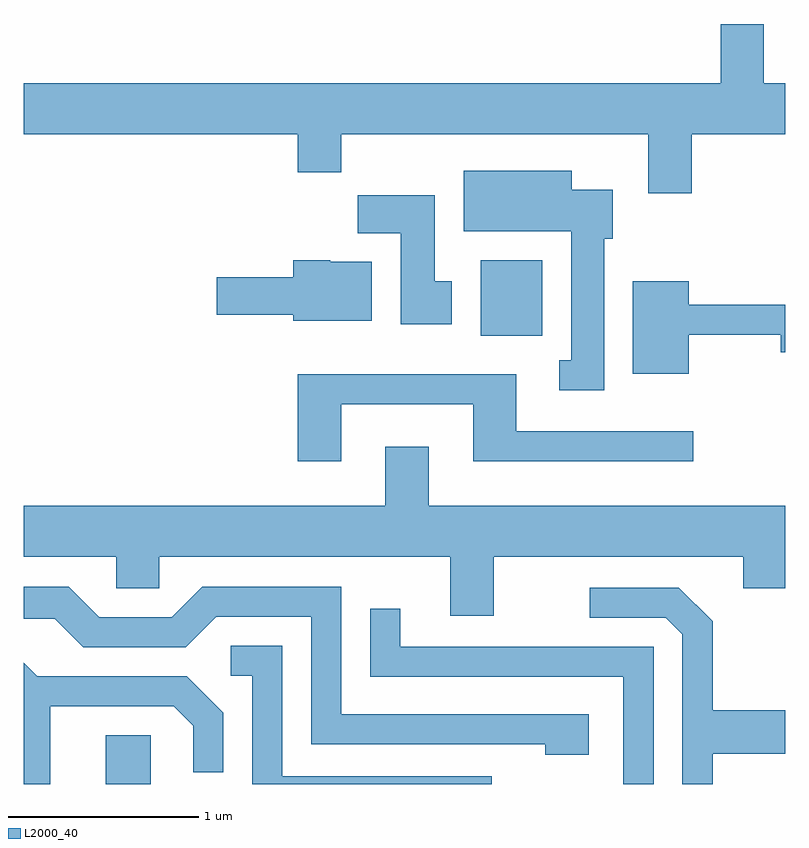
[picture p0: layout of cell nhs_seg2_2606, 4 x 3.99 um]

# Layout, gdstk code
import gdstk
lib = gdstk.Library(unit=1e-6, precision=1e-09)
def R(c, l, rs):  # rectangles x0, y0, x1, y1
    for r in rs: c.add(gdstk.rectangle(r[:2], r[2:], *l))
def P(c, l, *ps):  # polygons
    for p in ps: c.add(gdstk.Polygon(p, *l))
L2000_40 = (2000, 40)

nhs_seg2_2606 = lib.new_cell('nhs_seg2_2606')
R(nhs_seg2_2606, L2000_40, [(262.041,1033.802,262.279,1034.059), (264.011,1036.156,264.334,1036.554)])
P(nhs_seg2_2606, L2000_40, [(265.119,1037.216),(265.611,1037.216),(265.611,1037.484),(265.499,1037.484),(265.499,1037.794),(265.271,1037.794),(265.271,1037.484),(261.611,1037.484),(261.611,1037.216),(263.051,1037.216),(263.051,1037.016),(263.279,1037.016),(263.279,1037.216),(264.891,1037.216),(264.891,1036.906),(265.119,1036.906)],
  [(264.659,1036.666),(264.704,1036.666),(264.704,1036.924),(264.489,1036.924),(264.489,1037.024),(263.921,1037.024),(263.921,1036.706),(264.486,1036.706),(264.486,1036.029),(264.423,1036.029),(264.423,1035.871),(264.659,1035.871)],
  [(263.859,1036.444),(263.769,1036.444),(263.769,1036.894),(263.366,1036.894),(263.366,1036.696),(263.591,1036.696),(263.591,1036.216),(263.859,1036.216)],
  [(263.439,1036.544),(263.22,1036.544),(263.22,1036.554),(263.026,1036.554),(263.026,1036.464),(262.626,1036.464),(262.626,1036.266),(263.026,1036.266),(263.026,1036.236),(263.439,1036.236)],
  [(265.104,1036.161),(265.586,1036.161),(265.586,1036.071),(265.611,1036.071),(265.611,1036.319),(265.104,1036.319),(265.104,1036.444),(264.811,1036.444),(264.811,1035.956),(265.104,1035.956)],
  [(263.279,1035.796),(263.971,1035.796),(263.971,1035.496),(265.128,1035.496),(265.128,1035.654),(264.199,1035.654),(264.199,1035.954),(263.051,1035.954),(263.051,1035.496),(263.279,1035.496)],
  [(264.079,1034.996),(265.391,1034.996),(265.391,1034.831),(265.611,1034.831),(265.611,1035.264),(263.739,1035.264),(263.739,1035.574),(263.511,1035.574),(263.511,1035.264),(261.611,1035.264),(261.611,1034.996),(262.096,1034.996),(262.096,1034.831),(262.324,1034.831),(262.324,1034.996),(263.851,1034.996),(263.851,1034.686),(264.079,1034.686)],
  [(264.579,1034.169),(263.279,1034.169),(263.279,1034.839),(262.549,1034.839),(262.389,1034.679),(262.007,1034.679),(261.847,1034.839),(261.611,1034.839),(261.611,1034.671),(261.774,1034.671),(261.924,1034.521),(262.462,1034.521),(262.622,1034.681),(263.121,1034.681),(263.121,1034.011),(264.351,1034.011),(264.351,1033.956),(264.579,1033.956)],
  [(265.229,1033.961),(265.611,1033.961),(265.611,1034.189),(265.229,1034.189),(265.229,1034.657),(265.052,1034.834),(264.583,1034.834),(264.583,1034.676),(264.984,1034.676),(265.071,1034.589),(265.071,1033.802),(265.229,1033.802)],
  [(264.919,1034.524),(263.589,1034.524),(263.589,1034.723),(263.431,1034.723),(263.431,1034.366),(264.761,1034.366),(264.761,1033.802),(264.919,1033.802)],
  [(264.068,1033.844),(262.969,1033.844),(262.969,1034.529),(262.698,1034.529),(262.698,1034.371),(262.811,1034.371),(262.811,1033.802),(264.068,1033.802)],
  [(261.749,1034.211),(262.399,1034.211),(262.501,1034.109),(262.501,1033.863),(262.659,1033.863),(262.659,1034.177),(262.467,1034.369),(261.682,1034.369),(261.611,1034.44),(261.611,1033.802),(261.749,1033.802)])

lib.write_gds('nhs_seg2_2606.gds')
